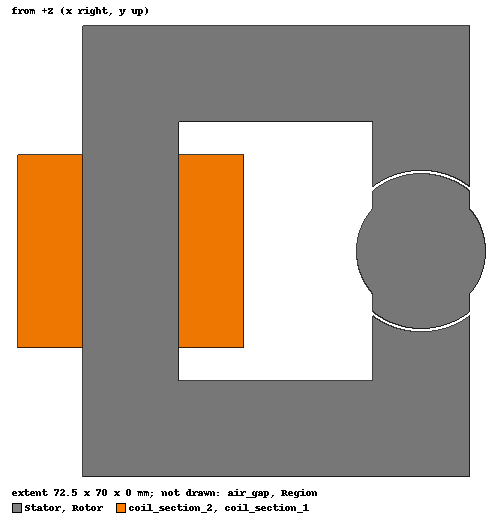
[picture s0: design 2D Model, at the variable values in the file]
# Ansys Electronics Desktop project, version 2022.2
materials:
  vacuum: permittivity=1
  copper: permeability=0.999991 conductivity=58000000
  AK Steel - M-19, 19mil, B-H at 100Hz: core_loss_curve{50Hz (0, 0) (0.1, 0.01782) (0.2, 0.066) (0.3, 0.13772) (0.4, 0.23782) (0.5, 0.3476) (0.6, 0.48268) (0.7, 0.60214) (0.8, 0.75086) (0.9, 0.93698) (1, 1.10836) (1.1, 1.34288) (1.2, 1.52372) (1.3, 1.8304) (1.4, 2.13004) (1.5, 2.5586) (1.6, 2.93392) (1.7, 3.3385) (1.8, 3.74484)} core_loss_curve{60Hz (0, 0) (0.1, 0.02134) (0.2, 0.08492) (0.3, 0.1969) (0.4, 0.30712) (0.5, 0.45452) (0.6, 0.63206) (0.7, 0.781) (0.8, 0.99396) (0.9, 1.2397) (1, 1.43572) (1.1, 1.70852) (1.2, 1.9866) (1.3, 2.36874) (1.4, 2.74296) (1.5, 3.18714) (1.6, 3.75628) (1.7, 4.3285) (1.8, 4.8015)} core_loss_curve{200Hz (0, 0) (0.1, 0.1133) (0.2, 0.4235) (0.3, 0.87538) (0.4, 1.5433) (0.5, 2.33948) (0.6, 3.25644) (0.7, 4.32542) (0.8, 5.49494) (0.9, 6.7628) (1, 8.22206) (1.1, 9.76162) (1.2, 11.5953) (1.3, 13.9412) (1.4, 16.0373) (1.5, 19.3534) (1.6, 22.3606) (1.7, 24.6803) (1.8, 26.7474)} core_loss_curve{400Hz (0, 0) (0.1, 0.31658) (0.2, 1.133) (0.3, 2.50888) (0.4, 4.25546) (0.5, 6.4185) (0.6, 9.23714) (0.7, 12.0542) (0.8, 15.4211) (0.9, 19.7771) (1, 24.823) (1.1, 29.9671) (1.2, 35.6455) (1.3, 42.2231) (1.4, 50.5419) (1.5, 59.6281) (1.6, 68.8208) (1.7, 78.0138) (1.8, 87.2065)} core_loss_curve{1000Hz (0, 0) (0.1, 1.05248) (0.2, 3.82954) (0.3, 8.50234) (0.4, 13.8811) (0.5, 20.3588) (0.6, 28.2823) (0.7, 40.1812) (0.8, 50.4962) (0.9, 62.4659) (1, 78.8801) (1.1, 96.4124) (1.2, 114.404) (1.3, 132.417) (1.4, 150.431)} permeability{HUnit=A_per_meter BUnit=tesla curve (0, 0) (25.4646, 0.139978) (28.1483, 0.159853) (30.8195, 0.180606) (33.4659, 0.202121) (36.0749, 0.224263) (38.6332, 0.24687) (41.1231, 0.269725) (43.5259, 0.292579) (45.8231, 0.31516) (48.0042, 0.337263) (50.0921, 0.359025) (52.1178, 0.380704) (54.1124, 0.402594) (56.1039, 0.424989) (58.1078, 0.45) (60.1366, 0.475) (62.2027, 0.5) (64.3082, 0.525) (66.4136, 0.55) (68.4694, 0.575) (70.4256, 0.6) (72.2576, 0.625) (74.0398, 0.65) (75.8717, 0.675) (77.8528, 0.7) (80.0453, 0.725) (82.3622, 0.75) (84.679, 0.775) (86.8716, 0.8) (88.8693, 0.825) (90.8173, 0.85) (92.9144, 0.875) (95.3598, 0.9) (98.2859, 0.925) (101.56, 0.95) (104.984, 0.975) (108.357, 1) (111.557, 1.025) (114.757, 1.05) (118.205, 1.075) (122.151, 1.1) (126.803, 1.125) (132.214, 1.15) (138.396, 1.175) (145.361, 1.2) (153.231, 1.225) (162.569, 1.25) (174.046, 1.275) (188.332, 1.3) (206.558, 1.325) (231.685, 1.35) (267.132, 1.375) (316.319, 1.4) (382.913, 1.425) (471.577, 1.45) (587.222, 1.475) (734.761, 1.5) (919.239, 1.525) (1146.24, 1.55) (1421.49, 1.575) (1750.69, 1.6) (2132.08, 1.62474) (2533.81, 1.64793) (2916.57, 1.668) (3241.01, 1.68341) (3494.73, 1.69313) (3772.98, 1.69831) (4197.94, 1.70062) (4891.76, 1.70175) (5939.97, 1.70306) (7281.45, 1.70475) (8818.46, 1.70668) (10453.2, 1.70874)} conductivity=1666670 saturation_mag=2.01tesla core_loss_type="Electrical Steel" core_loss_kh=350.176 core_loss_kc=0.195577 core_loss_ke=2.04521 mass_density=7650
  AK Steel - M-19, 19mil, B-H at 100Hz - Linear: core_loss_curve{50Hz (0, 0) (0.1, 0.01782) (0.2, 0.066) (0.3, 0.13772) (0.4, 0.23782) (0.5, 0.3476) (0.6, 0.48268) (0.7, 0.60214) (0.8, 0.75086) (0.9, 0.93698) (1, 1.10836) (1.1, 1.34288) (1.2, 1.52372) (1.3, 1.8304) (1.4, 2.13004) (1.5, 2.5586) (1.6, 2.93392) (1.7, 3.3385) (1.8, 3.74484)} core_loss_curve{60Hz (0, 0) (0.1, 0.02134) (0.2, 0.08492) (0.3, 0.1969) (0.4, 0.30712) (0.5, 0.45452) (0.6, 0.63206) (0.7, 0.781) (0.8, 0.99396) (0.9, 1.2397) (1, 1.43572) (1.1, 1.70852) (1.2, 1.9866) (1.3, 2.36874) (1.4, 2.74296) (1.5, 3.18714) (1.6, 3.75628) (1.7, 4.3285) (1.8, 4.8015)} core_loss_curve{200Hz (0, 0) (0.1, 0.1133) (0.2, 0.4235) (0.3, 0.87538) (0.4, 1.5433) (0.5, 2.33948) (0.6, 3.25644) (0.7, 4.32542) (0.8, 5.49494) (0.9, 6.7628) (1, 8.22206) (1.1, 9.76162) (1.2, 11.5953) (1.3, 13.9412) (1.4, 16.0373) (1.5, 19.3534) (1.6, 22.3606) (1.7, 24.6803) (1.8, 26.7474)} core_loss_curve{400Hz (0, 0) (0.1, 0.31658) (0.2, 1.133) (0.3, 2.50888) (0.4, 4.25546) (0.5, 6.4185) (0.6, 9.23714) (0.7, 12.0542) (0.8, 15.4211) (0.9, 19.7771) (1, 24.823) (1.1, 29.9671) (1.2, 35.6455) (1.3, 42.2231) (1.4, 50.5419) (1.5, 59.6281) (1.6, 68.8208) (1.7, 78.0138) (1.8, 87.2065)} core_loss_curve{1000Hz (0, 0) (0.1, 1.05248) (0.2, 3.82954) (0.3, 8.50234) (0.4, 13.8811) (0.5, 20.3588) (0.6, 28.2823) (0.7, 40.1812) (0.8, 50.4962) (0.9, 62.4659) (1, 78.8801) (1.1, 96.4124) (1.2, 114.404) (1.3, 132.417) (1.4, 150.431)} permeability=1e+20 conductivity=1666670 saturation_mag=2.01tesla core_loss_type="Electrical Steel" core_loss_kh=350.176 core_loss_kc=0.195577 core_loss_ke=2.04521 mass_density=7650

design 2D Model (Maxwell 2D, Magnetostatic, XY geometry, model units mm)
options: ComputeIncrementalMatrix ModelDepth=25mm
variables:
  core_outer_width = 60mm
  core_outer_height = 70mm
  core_inner_width = 30mm
  core_inner_height = 40mm
  coil_width = 10mm
  coil_height = 30mm
  r1 = 12.5mm
  r2 = 12mm
  r3 = 10mm
  N = 300
  I = 2.5*N
  core_depth = 25mm
  angle = 0deg
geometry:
  Stator [AK Steel - M-19, 19mil, B-H at 100Hz - Linear] = rectangle(corner=(-core_outer_width/2, -core_outer_height/2, 0mm), x_size=core_outer_width, y_size=core_outer_height)
  core_inner = rectangle(corner=(-core_inner_width/2, -core_inner_height/2, 0mm), x_size=core_inner_width, y_size=core_inner_height)
  Stator.subtract(core_inner)
  coil_section_1 [copper] = rectangle(corner=(-core_inner_width/2, -coil_height/2, 0mm), x_size=coil_width, y_size=coil_height)
  coil_section_2 [copper] = rectangle(corner=(-core_inner_width/2-coil_width-(core_outer_width-core_inner_width)/2, -coil_height/2, 0mm), x_size=coil_width, y_size=coil_height)
  Circle1 = circle(normal=Z, centre=((core_inner_width+core_outer_width)/4, 0mm, 0mm), radius=r1)
  Circle2 = circle(normal=Z, centre=((core_inner_width+core_outer_width)/4, 0mm, 0mm), radius=r2)
  Circle3 = circle(normal=Z, centre=((core_inner_width+core_outer_width)/4, 0mm, 0mm), radius=r3)
  Rotor [AK Steel - M-19, 19mil, B-H at 100Hz - Linear] = rectangle(corner=(-core_outer_width/2, -core_outer_height/2, 0mm), x_size=core_outer_width, y_size=core_outer_height)
  core_inner1 = rectangle(corner=(-core_inner_width/2, -core_inner_height/2, 0mm), x_size=core_inner_width, y_size=core_inner_height)
  Rotor.subtract(core_inner1)
  Rotor.intersect(Circle2)
  Stator.subtract(Circle1)
  Rotor.unite(Circle3)
  air_gap [vacuum] = circle(normal=Z, centre=((core_outer_width+core_inner_width)/4, 0mm, 0mm), radius=(r1+r2)/2)
  Region [vacuum] = region(percentage_offset: +X=100, -X=100, +Y=100, -Y=100, +Z=0, -Z=0)
  coordinate_system RelativeCS1 = origin=((core_outer_width+core_inner_width)/4, 0mm, 0mm) x=(1mm, 0mm, 0mm) y=(0mm, 1mm, 0mm)
  Rotor.rotate(axis=Z, angle=-angle) in RelativeCS1
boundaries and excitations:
  Balloon1: Balloon Edges=Region.edge(all 4)
  Current1: Current Objects=coil_section_2 Current=I IsPositive=true
  Current2: Current Objects=coil_section_1 Current=I IsPositive=false
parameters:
  Torque1: Torque Coordinate_System=RelativeCS1 Is_Positive=true Objects=Rotor
  Matrix1: Matrix Current1, Current2: NumberOfTurns=N; group Group1 = Current1, Current2 (1 parallel)
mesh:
  Length1: LengthBased RefineInside Objects=Stator MaxLength=3mm
  Length2: LengthBased RefineInside Objects=air_gap MaxLength=1mm
  Length3: LengthBased RefineInside Objects=Rotor MaxLength=1mm
  initial mesh: MeshMethod=AnsoftTAU
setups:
  Setup1: Magnetostatic MaximumPasses=10 MinimumPasses=2 MinimumConvergedPasses=1 PercentRefinement=40 PercentError=1 ConstantDelta=0s NonLinearResidual=1e-06
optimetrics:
  ParametricSetup1: Parametric Sim._Setups=[Setup1]
    sweep angle: LIN 0deg 180deg 0.5deg
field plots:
  B_Vector1: B over Stator, coil_section_1, coil_section_2, Rotor, air_gap on Setup1 : LastAdaptive
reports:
  Torque Plot 1: Torque1.Torque vs angle on Setup1 : LastAdaptive
